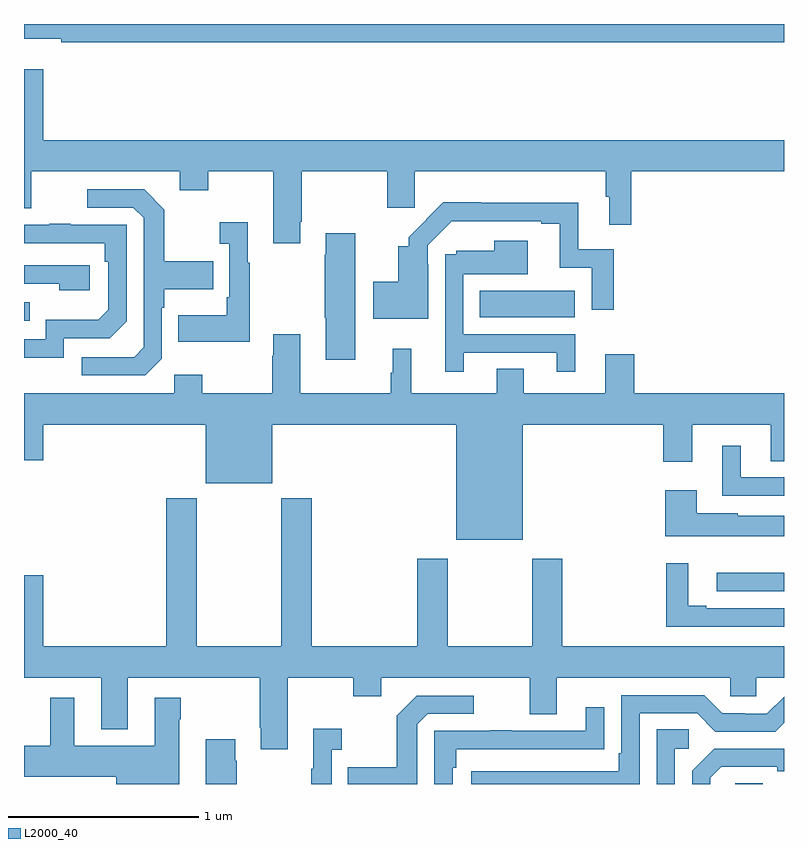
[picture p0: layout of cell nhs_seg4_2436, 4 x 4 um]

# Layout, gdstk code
import gdstk
lib = gdstk.Library(unit=1e-6, precision=1e-09)
def R(c, l, rs):  # rectangles x0, y0, x1, y1
    for r in rs: c.add(gdstk.rectangle(r[:2], r[2:], *l))
def P(c, l, *ps):  # polygons
    for p in ps: c.add(gdstk.Polygon(p, *l))
L2000_40 = (2000, 40)

nhs_seg4_2436 = lib.new_cell('nhs_seg4_2436')
R(nhs_seg4_2436, L2000_40, [(240.744,822.9,240.889,822.905), (240.645,823.914,241,824.012), (237,825.339,237.029,825.435), (239.398,825.356,239.899,825.496)])
P(nhs_seg4_2436, L2000_40, [(241,826.9),(237,826.9),(237,826.823),(237.196,826.823),(237.196,826.804),(241,826.804)],
  [(238.453,825.859),(238.461,825.859),(238.461,826.124),(238.912,826.124),(238.912,825.933),(239.057,825.933),(239.057,826.124),(240.061,826.124),(240.061,825.992),(240.08,825.992),(240.08,825.843),(240.197,825.843),(240.197,826.124),(241,826.124),(241,826.288),(237.1,826.288),(237.1,826.663),(237,826.663),(237,825.93),(237.037,825.93),(237.037,826.124),(237.821,826.124),(237.821,826.025),(237.969,826.025),(237.969,826.124),(238.313,826.124),(238.313,825.747),(238.453,825.747)],
  [(237.726,825.138),(237.726,825.407),(237.739,825.407),(237.739,825.503),(237.995,825.503),(237.995,825.651),(237.739,825.651),(237.739,825.923),(237.633,826.029),(237.333,826.029),(237.333,825.933),(237.576,825.933),(237.63,825.879),(237.63,825.198),(237.579,825.147),(237.303,825.147),(237.303,825.051),(237.639,825.051)],
  [(239.128,825.635),(239.124,825.635),(239.124,825.735),(239.25,825.861),(239.723,825.861),(239.723,825.849),(239.819,825.849),(239.819,825.618),(239.988,825.618),(239.988,825.396),(240.104,825.396),(240.104,825.714),(239.917,825.714),(239.917,825.958),(239.405,825.958),(239.405,825.961),(239.206,825.961),(239.024,825.778),(239.024,825.73),(238.97,825.73),(238.97,825.544),(238.838,825.544),(238.838,825.35),(239.128,825.35)],
  [(238.189,825.643),(238.177,825.643),(238.177,825.856),(238.029,825.856),(238.029,825.743),(238.08,825.743),(238.08,825.463),(238.068,825.463),(238.068,825.367),(237.811,825.367),(237.811,825.227),(238.189,825.227)],
  [(237.21,825.246),(237.45,825.246),(237.54,825.336),(237.54,825.843),(237.245,825.843),(237.245,825.848),(237.133,825.848),(237.133,825.843),(237,825.843),(237,825.747),(237.424,825.747),(237.424,825.65),(237.444,825.65),(237.444,825.396),(237.391,825.343),(237.114,825.343),(237.114,825.24),(237,825.24),(237,825.144),(237.21,825.144)],
  [(238.744,825.799),(238.589,825.799),(238.589,825.686),(238.582,825.686),(238.582,825.355),(238.589,825.355),(238.589,825.132),(238.744,825.132)],
  [(239.314,825.171),(239.804,825.171),(239.804,825.069),(239.902,825.069),(239.902,825.267),(239.313,825.267),(239.313,825.584),(239.65,825.584),(239.65,825.76),(239.474,825.76),(239.474,825.706),(239.274,825.706),(239.274,825.687),(239.217,825.687),(239.217,825.069),(239.314,825.069)],
  [(237.346,825.63),(237,825.63),(237,825.534),(237.185,825.534),(237.185,825.5),(237.346,825.5)],
  [(239.626,824.792),(240.365,824.792),(240.365,824.595),(240.517,824.595),(240.517,824.792),(240.929,824.792),(240.929,824.599),(241,824.599),(241,824.956),(240.212,824.956),(240.212,825.163),(240.059,825.163),(240.059,824.956),(239.629,824.956),(239.629,825.086),(239.489,825.086),(239.489,824.956),(239.039,824.956),(239.039,825.19),(238.94,825.19),(238.94,825.065),(238.929,825.065),(238.929,824.956),(238.453,824.956),(238.453,825.268),(238.313,825.268),(238.313,825.155),(238.306,825.155),(238.306,824.956),(237.939,824.956),(237.939,825.055),(237.792,825.055),(237.792,824.956),(237,824.956),(237,824.604),(237.1,824.604),(237.1,824.792),(237.956,824.792),(237.956,824.483),(238.306,824.483),(238.306,824.792),(239.276,824.792),(239.276,824.186),(239.626,824.186)],
  [(241,824.514),(240.772,824.514),(240.772,824.68),(240.674,824.68),(240.674,824.418),(241,824.418)],
  [(241,824.311),(240.756,824.311),(240.756,824.326),(240.541,824.326),(240.541,824.446),(240.374,824.446),(240.374,824.204),(241,824.204)],
  [(237.909,824.404),(237.749,824.404),(237.749,823.624),(237.1,823.624),(237.1,823.999),(237,823.999),(237,823.46),(237.407,823.46),(237.407,823.187),(237.547,823.187),(237.547,823.46),(238.24,823.46),(238.24,823.195),(238.247,823.195),(238.247,823.083),(238.387,823.083),(238.387,823.46),(238.732,823.46),(238.732,823.361),(238.879,823.361),(238.879,823.46),(239.663,823.46),(239.663,823.266),(239.803,823.266),(239.803,823.46),(240.717,823.46),(240.717,823.362),(240.855,823.362),(240.855,823.46),(241,823.46),(241,823.624),(239.834,823.624),(239.834,824.086),(239.674,824.086),(239.674,823.624),(239.229,823.624),(239.229,824.086),(239.069,824.086),(239.069,823.624),(238.514,823.624),(238.514,824.404),(238.354,824.404),(238.354,823.624),(237.909,823.624)],
  [(241,823.824),(240.592,823.824),(240.592,823.837),(240.496,823.837),(240.496,824.062),(240.379,824.062),(240.379,823.728),(241,823.728)],
  [(240.24,823.272),(240.543,823.272),(240.639,823.176),(240.954,823.176),(241,823.222),(241,823.36),(240.909,823.269),(240.794,823.269),(240.794,823.272),(240.675,823.272),(240.579,823.368),(240.144,823.368),(240.144,823.063),(240.131,823.063),(240.131,822.966),(239.355,822.966),(239.355,822.9),(240.24,822.9)],
  [(239.07,823.215),(239.124,823.269),(239.368,823.269),(239.368,823.365),(239.067,823.365),(238.962,823.259),(238.962,822.987),(238.705,822.987),(238.705,822.9),(239.07,822.9)],
  [(237.817,823.241),(237.825,823.241),(237.825,823.354),(237.689,823.354),(237.689,823.102),(237.265,823.102),(237.265,823.354),(237.137,823.354),(237.137,823.102),(237,823.102),(237,822.938),(237.485,822.938),(237.485,822.9),(237.817,822.9)],
  [(239.256,822.986),(239.276,822.986),(239.276,823.083),(239.951,823.083),(239.951,823.084),(240.053,823.084),(240.053,823.303),(239.957,823.303),(239.957,823.179),(239.567,823.179),(239.567,823.184),(239.455,823.184),(239.455,823.179),(239.16,823.179),(239.16,822.9),(239.256,822.9)],
  [(238.62,823.079),(238.672,823.079),(238.672,823.192),(238.523,823.192),(238.523,822.979),(238.512,822.979),(238.512,822.9),(238.62,822.9)],
  [(240.426,823.086),(240.499,823.086),(240.499,823.187),(240.33,823.187),(240.33,822.9),(240.426,822.9)],
  [(238.119,823.022),(238.111,823.022),(238.111,823.135),(237.956,823.135),(237.956,822.9),(238.119,822.9)],
  [(240.613,822.933),(240.67,822.99),(240.965,822.99),(240.965,822.968),(241,822.968),(241,823.086),(240.632,823.086),(240.516,822.97),(240.516,822.9),(240.613,822.9)])

lib.write_gds('nhs_seg4_2436.gds')
